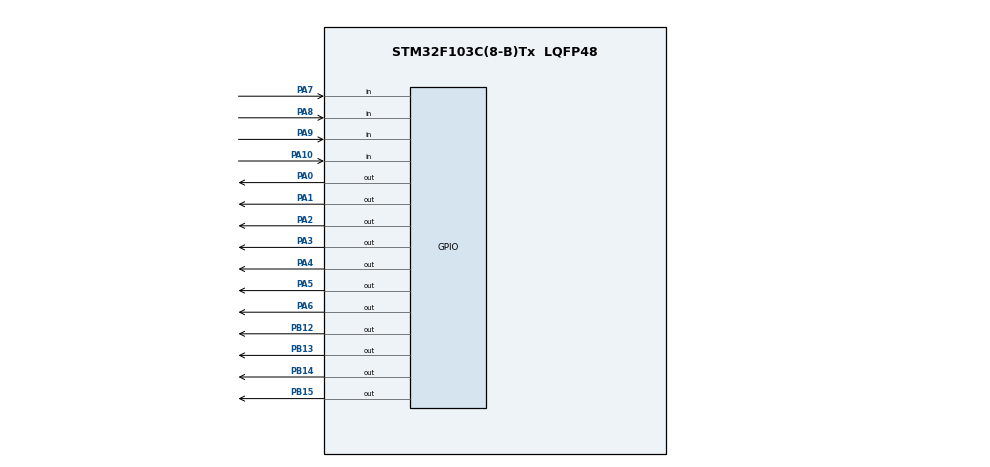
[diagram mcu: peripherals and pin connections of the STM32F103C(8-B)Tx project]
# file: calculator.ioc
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Mcu.Family=STM32F1
Mcu.Name=STM32F103C(8-B)Tx
Mcu.Package=LQFP48
NVIC.PriorityGroup=NVIC_PRIORITYGROUP_4
PA0-WKUP.Signal=GPIO_Output
PA1.Signal=GPIO_Output
PA10.GPIO_PuPd=GPIO_PULLUP
PA10.Signal=GPIO_Input
PA13.Mode=Serial_Wire
PA13.Signal=SYS_JTMS-SWDIO
PA14.Mode=Serial_Wire
PA14.Signal=SYS_JTCK-SWCLK
PA2.Signal=GPIO_Output
PA3.Signal=GPIO_Output
PA4.Signal=GPIO_Output
PA5.Signal=GPIO_Output
PA6.Signal=GPIO_Output
PA7.GPIO_PuPd=GPIO_PULLUP
PA7.Signal=GPIO_Input
PA8.GPIO_PuPd=GPIO_PULLUP
PA8.Signal=GPIO_Input
PA9.GPIO_PuPd=GPIO_PULLUP
PA9.Signal=GPIO_Input
PB12.Signal=GPIO_Output
PB13.Signal=GPIO_Output
PB14.Signal=GPIO_Output
PB15.Signal=GPIO_Output
ProjectManager.HeapSize=0x200
ProjectManager.StackSize=0x400
ProjectManager.TargetToolchain=STM32CubeIDE
RCC.APB1Freq_Value=8000000
RCC.APB2Freq_Value=8000000
board=custom

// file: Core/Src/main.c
/* USER CODE BEGIN Header */
/**
  ******************************************************************************
  * @file           : main.c
  * @brief          : Main program body
  ******************************************************************************
  * @attention
  *
  * Author: Pham Van Tin (teocon)
  * Library source: https://www.youtube.com/watch?v=dQbnnh9PGdc
  *
  * Copyright (c) 2024 STMicroelectronics.
  * All rights reserved.
  *
  * This software is licensed under terms that can be found in the LICENSE file
  * in the root directory of this software component.
  * If no LICENSE file comes with this software, it is provided AS-IS.
  *
  ******************************************************************************
  */
/* USER CODE END Header */
#include "main.h"

/* USER CODE BEGIN Includes */
#include "stdio.h"
#include "string.h"
#include "LCD16x2.h"
/* USER CODE END Includes */

/* USER CODE BEGIN PV */
char num_op[17] = {'1','4','7','d','2','5','8','0','3','6','9','=','+','-', '*', '/'}; // define button
char Key_Scan(void)
{
	HAL_GPIO_WritePin(GPIOB, GPIO_PIN_12, 0);
	HAL_GPIO_WritePin(GPIOB, GPIO_PIN_13 | GPIO_PIN_14 | GPIO_PIN_15, 1);
	if (!HAL_GPIO_ReadPin(GPIOA, GPIO_PIN_7)){
		// press button 7
		while(!HAL_GPIO_ReadPin(GPIOA, GPIO_PIN_7));
		return num_op[0];
	}
	else if (!HAL_GPIO_ReadPin(GPIOA, GPIO_PIN_8)){
		// press button 8
		while(!HAL_GPIO_ReadPin(GPIOA, GPIO_PIN_8));
		return num_op[1];
	}
	else if (!HAL_GPIO_ReadPin(GPIOA, GPIO_PIN_9)){
		// press button 9
		while(!HAL_GPIO_ReadPin(GPIOA, GPIO_PIN_9));
		return num_op[2];
	}
	else if (!HAL_GPIO_ReadPin(GPIOA, GPIO_PIN_10)){
		// press button 10
		while(!HAL_GPIO_ReadPin(GPIOA, GPIO_PIN_10));
		return num_op[3];
	}

	HAL_GPIO_WritePin(GPIOB, GPIO_PIN_13, 0);
	HAL_GPIO_WritePin(GPIOB, GPIO_PIN_12 | GPIO_PIN_14 | GPIO_PIN_15, 1);
	if (!HAL_GPIO_ReadPin(GPIOA, GPIO_PIN_7)){
		// press button 7
		while(!HAL_GPIO_ReadPin(GPIOA, GPIO_PIN_7));
		return num_op[4];
	}
	else if (!HAL_GPIO_ReadPin(GPIOA, GPIO_PIN_8)){
		// press button 8
		while(!HAL_GPIO_ReadPin(GPIOA, GPIO_PIN_8));
		return num_op[5];
	}
	else if (!HAL_GPIO_ReadPin(GPIOA, GPIO_PIN_9)){
		// press button 9
		while(!HAL_GPIO_ReadPin(GPIOA, GPIO_PIN_9));
		return num_op[6];
	}
	else if (!HAL_GPIO_ReadPin(GPIOA, GPIO_PIN_10)){
		// press button 10
		while(!HAL_GPIO_ReadPin(GPIOA, GPIO_PIN_10));
		return num_op[7];
	}

	HAL_GPIO_WritePin(GPIOB, GPIO_PIN_14, 0);
	HAL_GPIO_WritePin(GPIOB, GPIO_PIN_12 | GPIO_PIN_13 | GPIO_PIN_15, 1);
	if (!HAL_GPIO_ReadPin(GPIOA, GPIO_PIN_7)){
		// press button 7
		while(!HAL_GPIO_ReadPin(GPIOA, GPIO_PIN_7));
		return num_op[8];
	}
	else if (!HAL_GPIO_ReadPin(GPIOA, GPIO_PIN_8)){
		// press button 8
		while(!HAL_GPIO_ReadPin(GPIOA, GPIO_PIN_8));
		return num_op[9];
	}
	else if (!HAL_GPIO_ReadPin(GPIOA, GPIO_PIN_9)){
		// press button 9
		while(!HAL_GPIO_ReadPin(GPIOA, GPIO_PIN_9));
		return num_op[10];
	}
	else if (!HAL_GPIO_ReadPin(GPIOA, GPIO_PIN_10)){
		// press button 10
		while(!HAL_GPIO_ReadPin(GPIOA, GPIO_PIN_10));
		return num_op[11];
	}

	HAL_GPIO_WritePin(GPIOB, GPIO_PIN_15, 0);
	HAL_GPIO_WritePin(GPIOB, GPIO_PIN_12 | GPIO_PIN_13 | GPIO_PIN_14 , 1);
	if (!HAL_GPIO_ReadPin(GPIOA, GPIO_PIN_7)){
		// press button 7
		while(!HAL_GPIO_ReadPin(GPIOA, GPIO_PIN_7));
		return num_op[12];
	}
	else if (!HAL_GPIO_ReadPin(GPIOA, GPIO_PIN_8)){
		// press button 8
		while(!HAL_GPIO_ReadPin(GPIOA, GPIO_PIN_8));
		return num_op[13];
	}
	else if (!HAL_GPIO_ReadPin(GPIOA, GPIO_PIN_9)){
		// press button 9
		while(!HAL_GPIO_ReadPin(GPIOA, GPIO_PIN_9));
		return num_op[14];
	}
	else if (!HAL_GPIO_ReadPin(GPIOA, GPIO_PIN_10)){
		// press button 10
		while(!HAL_GPIO_ReadPin(GPIOA, GPIO_PIN_10));
		return num_op[15];
	}
	return 0;
}
/* USER CODE END PV */

void SystemClock_Config(void);
static void MX_GPIO_Init(void);

int main(void)
{

  /* MCU Configuration--------------------------------------------------------*/

  /* Reset of all peripherals, Initializes the Flash interface and the Systick. */
  HAL_Init();

  /* Configure the system clock */
  SystemClock_Config();

  /* Initialize all configured peripherals */
  MX_GPIO_Init();
  /* USER CODE BEGIN 2 */
  LCD_Init();
  LCD_Clear();
  char array[30]; // store all data when pressing except "del" button
  int t = -1; // Current order in array[30]
  int x = -1; // Location on LCD
  char op[7];   // store all operators
  double num[8]; // store all numbers
  /* USER CODE END 2 */

  /* Infinite loop */
  while (1)
  {

    /* USER CODE BEGIN 3 */
		char k = Key_Scan();
		if(k){
			if (k == 'd'){
				// if press "del" button
				if(x>=0){
				  char string[2] = {' ', '\0'};
				  LCD_Location(x, 0);
				  x-=1;
				  LCD_Write_String(string); // remove number or operator on LCD
				  array[t] = '\0';
				  t-=1;
				}
			}
			else if(k == '='){
				// if press "=" button
				char string[2] = {' ', '\0'};
				for (int clr_2=0; clr_2<16; clr_2++){
				  LCD_Location(clr_2, 1);
				  HAL_Delay(5);
				  LCD_Write_String(string); // remove all data on LCD
				}
				for (int j=0; j<8; j++){
					num[j]='\0'; // if j < 8 => num[0=>7] = null character
					if (j<7){
					op[j]='\0'; // if j < 7 => num[0=>6] =  null character
					}
				}
				double sum=0;
				int op_sin=0; // number of operator
				for (int i=0; i<t+1; i++){
					if (array[i]>='0' && array[i]<='9'){
						sum = sum*10 + (array[i] - '0');
						num[op_sin]=sum;
					}
					else if(array[i]=='+' || array[i]=='-' || array[i]=='*' || array[i]=='/'){
						op[op_sin]=array[i];
						op_sin+=1;
						sum=0;
					}
				}
				//Perform multiplication, division, and subtraction operations first
				//and then convert them into addition operations.
				for (int i=0; i<op_sin; i++){
					if(op[i]=='*'){
						num[i+1]=num[i] * num[i+1];
						num[i]=0;
						op[i]='+';
					}
					else if(op[i]=='/'){
						num[i+1]=num[i] / num[i+1];
						num[i]=0;
						op[i]='+';
					}
					else if (op[i]=='-'){
						num[i+1]=-num[i+1];
						op[i]='+';
					}
				}
				for (int i=0; i<op_sin; i++){
					num[i+1]=num[i] + num[i+1];
				}
				sum = num[op_sin];  // result
				LCD_Location(0,1);
				LCD_Write_Number(sum);
			}
			else{
				t+=1;
				array[t]=k;
				char string[2] = {k,'\0'};
				x+=1;
				LCD_Location(x,0);
				LCD_Write_String(string); // display number or operator on LCD
				HAL_Delay(50);
			}
		}
  }
  /* USER CODE END 3 */
}

void SystemClock_Config(void)
{
  RCC_OscInitTypeDef RCC_OscInitStruct = {0};
  RCC_ClkInitTypeDef RCC_ClkInitStruct = {0};

  /** Initializes the RCC Oscillators according to the specified parameters
  * in the RCC_OscInitTypeDef structure.
  */
  RCC_OscInitStruct.OscillatorType = RCC_OSCILLATORTYPE_HSI;
  RCC_OscInitStruct.HSIState = RCC_HSI_ON;
  RCC_OscInitStruct.HSICalibrationValue = RCC_HSICALIBRATION_DEFAULT;
  RCC_OscInitStruct.PLL.PLLState = RCC_PLL_NONE;
  if (HAL_RCC_OscConfig(&RCC_OscInitStruct) != HAL_OK)
  {
    Error_Handler();
  }

  /** Initializes the CPU, AHB and APB buses clocks
  */
  RCC_ClkInitStruct.ClockType = RCC_CLOCKTYPE_HCLK|RCC_CLOCKTYPE_SYSCLK
                              |RCC_CLOCKTYPE_PCLK1|RCC_CLOCKTYPE_PCLK2;
  RCC_ClkInitStruct.SYSCLKSource = RCC_SYSCLKSOURCE_HSI;
  RCC_ClkInitStruct.AHBCLKDivider = RCC_SYSCLK_DIV1;
  RCC_ClkInitStruct.APB1CLKDivider = RCC_HCLK_DIV1;
  RCC_ClkInitStruct.APB2CLKDivider = RCC_HCLK_DIV1;

  if (HAL_RCC_ClockConfig(&RCC_ClkInitStruct, FLASH_LATENCY_0) != HAL_OK)
  {
    Error_Handler();
  }
}

static void MX_GPIO_Init(void)
{
  GPIO_InitTypeDef GPIO_InitStruct = {0};

  /* GPIO Ports Clock Enable */
  __HAL_RCC_GPIOA_CLK_ENABLE();
  __HAL_RCC_GPIOB_CLK_ENABLE();

  /*Configure GPIO pin Output Level */
  HAL_GPIO_WritePin(GPIOA, GPIO_PIN_0|GPIO_PIN_1|GPIO_PIN_2|GPIO_PIN_3
                          |GPIO_PIN_4|GPIO_PIN_5|GPIO_PIN_6, GPIO_PIN_RESET);

  /*Configure GPIO pin Output Level */
  HAL_GPIO_WritePin(GPIOB, GPIO_PIN_12|GPIO_PIN_13|GPIO_PIN_14|GPIO_PIN_15, GPIO_PIN_RESET);

  /*Configure GPIO pins : PA0 PA1 PA2 PA3
                           PA4 PA5 PA6 */
  GPIO_InitStruct.Pin = GPIO_PIN_0|GPIO_PIN_1|GPIO_PIN_2|GPIO_PIN_3
                          |GPIO_PIN_4|GPIO_PIN_5|GPIO_PIN_6;
  GPIO_InitStruct.Mode = GPIO_MODE_OUTPUT_PP;
  GPIO_InitStruct.Pull = GPIO_NOPULL;
  GPIO_InitStruct.Speed = GPIO_SPEED_FREQ_LOW;
  HAL_GPIO_Init(GPIOA, &GPIO_InitStruct);

  /*Configure GPIO pins : PA7 PA8 PA9 PA10 */
  GPIO_InitStruct.Pin = GPIO_PIN_7|GPIO_PIN_8|GPIO_PIN_9|GPIO_PIN_10;
  GPIO_InitStruct.Mode = GPIO_MODE_INPUT;
  GPIO_InitStruct.Pull = GPIO_PULLUP;
  HAL_GPIO_Init(GPIOA, &GPIO_InitStruct);

  /*Configure GPIO pins : PB12 PB13 PB14 PB15 */
  GPIO_InitStruct.Pin = GPIO_PIN_12|GPIO_PIN_13|GPIO_PIN_14|GPIO_PIN_15;
  GPIO_InitStruct.Mode = GPIO_MODE_OUTPUT_PP;
  GPIO_InitStruct.Pull = GPIO_NOPULL;
  GPIO_InitStruct.Speed = GPIO_SPEED_FREQ_LOW;
  HAL_GPIO_Init(GPIOB, &GPIO_InitStruct);

}

void Error_Handler(void)
{
  __disable_irq();
  while (1)
  {
  }
}
